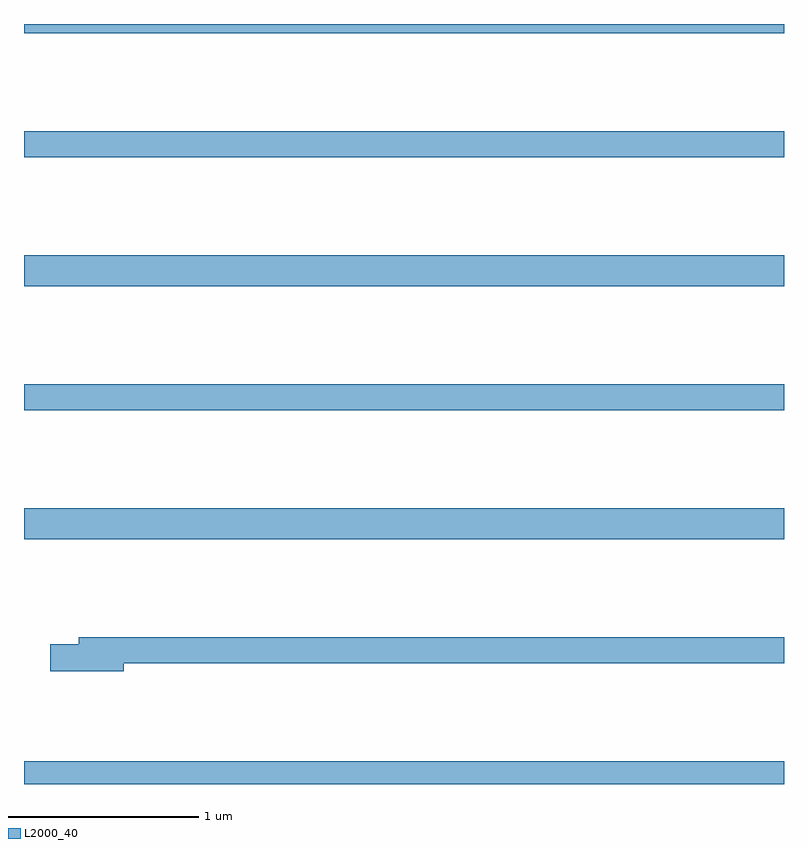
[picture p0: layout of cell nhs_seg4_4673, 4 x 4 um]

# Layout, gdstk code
import gdstk
lib = gdstk.Library(unit=1e-6, precision=1e-09)
def R(c, l, rs):  # rectangles x0, y0, x1, y1
    for r in rs: c.add(gdstk.rectangle(r[:2], r[2:], *l))
def P(c, l, *ps):  # polygons
    for p in ps: c.add(gdstk.Polygon(p, *l))
L2000_40 = (2000, 40)

nhs_seg4_4673 = lib.new_cell('nhs_seg4_4673')
R(nhs_seg4_4673, L2000_40, [(363,760.9,367,761.02), (363,762.188,367,762.352), (363,762.868,367,763.004), (363,763.52,367,763.684), (363,764.2,367,764.336), (363,764.852,367,764.9)])
P(nhs_seg4_4673, L2000_40, [(363.526,761.536),(367,761.536),(367,761.672),(363.287,761.672),(363.287,761.636),(363.138,761.636),(363.138,761.494),(363.526,761.494)])

lib.write_gds('nhs_seg4_4673.gds')
